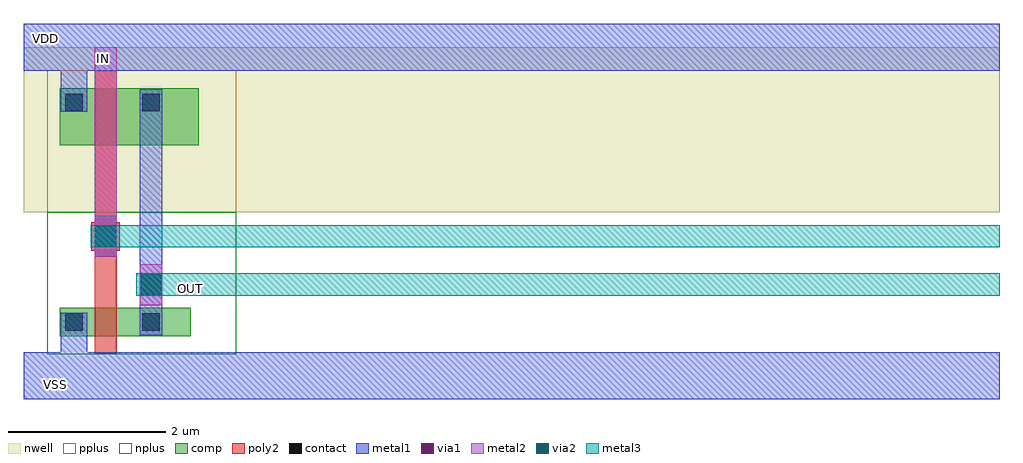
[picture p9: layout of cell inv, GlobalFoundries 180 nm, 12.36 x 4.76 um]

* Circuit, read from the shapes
.subckt inv IN OUT VDD VSS
XM1 OUT IN VSS VSUBS nfet_03v3 w=0.36u l=0.28u
XM2 OUT IN VDD n1 pfet_03v3 w=0.72u l=0.28u
.ends

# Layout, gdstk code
import gdstk
lib = gdstk.Library(unit=1e-6, precision=5e-09)
def R(c, l, rs):  # rectangles x0, y0, x1, y1
    for r in rs: c.add(gdstk.rectangle(r[:2], r[2:], *l))
nwell = (21, 0)
comp = (22, 0)
poly2 = (30, 0)
pplus = (31, 0)
nplus = (32, 0)
contact = (33, 0)
metal1 = (34, 0)
via1 = (35, 0)
metal2 = (36, 0)
via2 = (38, 0)
metal3 = (42, 0)

inv = lib.new_cell('inv')
R(inv, nwell, [(275.915,95.47,288.275,97.56)])
R(inv, comp, [(276.375,93.9,278.035,94.26), (276.375,96.32,278.135,97.04)])
R(inv, poly2, [(276.815,93.68,277.095,97.26), (276.775,94.985,277.135,95.345)])
R(inv, pplus, [(276.215,95.47,278.61,97.27)])
R(inv, nplus, [(276.215,93.67,278.61,95.47)])
R(inv, contact, [(276.445,93.97,276.665,94.19), (277.42,93.97,277.64,94.19), (276.845,95.055,277.065,95.275), (276.445,96.75,276.665,96.97), (277.42,96.75,277.64,96.97)])
R(inv, metal1, [(275.915,93.1,288.275,93.7), (276.385,93.68,276.725,94.195), (277.39,93.91,277.67,97.03), (276.815,94.905,277.095,95.425), (276.385,96.745,276.725,97.26), (275.915,97.26,288.275,97.86)])
R(inv, via1, [(277.4,94.425,277.66,94.685), (276.825,95.035,277.085,95.295)])
R(inv, metal2, [(277.39,94.295,277.67,94.815), (276.815,94.905,277.095,97.56)])
R(inv, via2, [(277.4,94.425,277.66,94.685), (276.825,95.035,277.085,95.295)])
R(inv, metal3, [(277.34,94.415,288.275,94.695), (276.765,95.025,288.275,95.305)])
inv.add(gdstk.Label('OUT', (278.025,94.5), layer=42, texttype=10))
inv.add(gdstk.Label('VDD', (276.195,97.675), layer=34, texttype=10))
inv.add(gdstk.Label('VSS', (276.315,93.295), layer=34, texttype=10))
inv.add(gdstk.Label('IN', (276.93,97.415), layer=36, texttype=10))

lib.write_gds('inv.gds')
